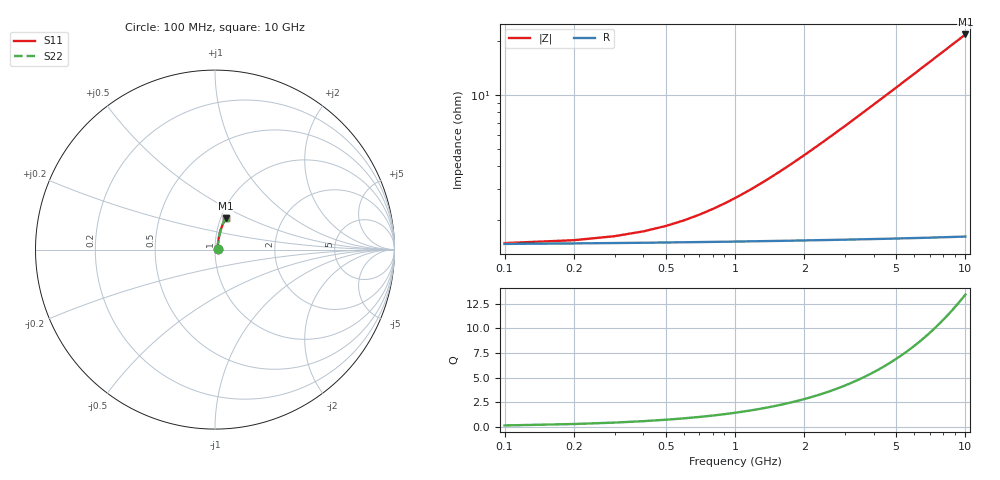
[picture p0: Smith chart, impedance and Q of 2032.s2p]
# Hz S RI R 50.00
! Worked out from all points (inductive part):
!   100 points, 100 MHz to 10 GHz, reference 50 ohm
!   read as one part in series: L = 346 pH near 2.2 GHz
!   highest Q = 13.4 at 10 GHz (marker M1), where L = 346 pH
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1e8  0.0145 0.00184  0.9855 -0.00239  0.9855 -0.00239  0.0145 0.00184
2e8  0.0146 0.00367  0.9854 -0.00478  0.9854 -0.00478  0.0146 0.00367
3e8  0.0147 0.00551  0.9853 -0.00717  0.9853 -0.00717  0.0147 0.00551
4e8  0.0148 0.00734  0.9852 -0.00956  0.9852 -0.00956  0.0148 0.00734
6e8  0.015 0.011  0.985 -0.0143  0.985 -0.0143  0.015 0.011
1e9  0.0154 0.0183  0.9846 -0.0239  0.9846 -0.0239  0.0154 0.0183
1.2e9  0.0156 0.022  0.9844 -0.0286  0.9844 -0.0286  0.0156 0.022
1.5e9  0.016 0.0275  0.9839 -0.0358  0.9839 -0.0358  0.016 0.0275
1.8e9  0.0165 0.033  0.9834 -0.0429  0.9834 -0.0429  0.0165 0.033
2.1e9  0.0171 0.0384  0.9828 -0.0501  0.9828 -0.0501  0.0171 0.0384
2.5e9  0.018 0.0457  0.9819 -0.0595  0.9819 -0.0595  0.018 0.0457
2.9e9  0.019 0.0529  0.9808 -0.069  0.9808 -0.069  0.019 0.0529
3.4e9  0.0205 0.062  0.9793 -0.0808  0.9793 -0.0808  0.0205 0.062
3.8e9  0.0218 0.0691  0.978 -0.0902  0.978 -0.0902  0.0218 0.0691
4.2e9  0.0232 0.0763  0.9765 -0.0996  0.9765 -0.0996  0.0232 0.0763
4.6e9  0.0248 0.0834  0.9748 -0.1089  0.9748 -0.1089  0.0248 0.0834
5.1e9  0.027 0.0923  0.9726 -0.1206  0.9726 -0.1206  0.027 0.0923
5.9e9  0.0309 0.1063  0.9685 -0.139  0.9685 -0.139  0.0309 0.1063
6.7e9  0.0353 0.1201  0.9639 -0.1573  0.9639 -0.1573  0.0353 0.1201
7.5e9  0.0403 0.1337  0.9588 -0.1753  0.9588 -0.1753  0.0403 0.1337
8.4e9  0.0464 0.1487  0.9525 -0.1954  0.9525 -0.1954  0.0464 0.1487
1e10  0.0588 0.1745  0.9396 -0.2301  0.9396 -0.2301  0.0588 0.1745
